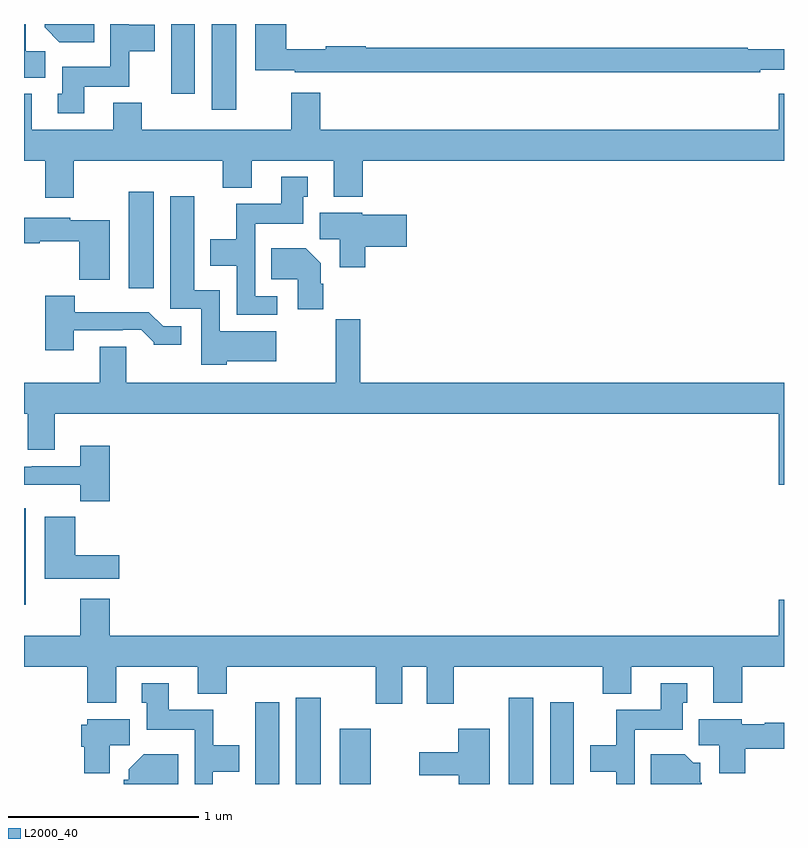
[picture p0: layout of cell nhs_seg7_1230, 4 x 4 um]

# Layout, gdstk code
import gdstk
lib = gdstk.Library(unit=1e-6, precision=1e-09)
def R(c, l, rs):  # rectangles x0, y0, x1, y1
    for r in rs: c.add(gdstk.rectangle(r[:2], r[2:], *l))
def P(c, l, *ps):  # polygons
    for p in ps: c.add(gdstk.Polygon(p, *l))
L2000_40 = (2000, 40)

nhs_seg7_1230 = lib.new_cell('nhs_seg7_1230')
R(nhs_seg7_1230, L2000_40, [(198.218,1000,198.343,1000.429), (198.431,1000,198.562,1000.453), (199.55,1000,199.681,1000.453), (199.769,1000,199.894,1000.429), (197,1000.944,197.008,1001.452), (197.552,1002.609,197.683,1003.117), (197.987,1003.548,198.118,1004), (197.774,1003.632,197.899,1004)])
P(nhs_seg7_1230, L2000_40, [(197.113,1003.856),(197.008,1003.856),(197.008,1004),(197,1004),(197,1003.718),(197.113,1003.718)],
  [(197.369,1004),(197.108,1004),(197.108,1003.982),(197.186,1003.904),(197.369,1003.904)],
  [(197.317,1003.67),(197.553,1003.67),(197.553,1003.856),(197.689,1003.856),(197.689,1003.996),(197.55,1003.996),(197.55,1004),(197.454,1004),(197.454,1003.774),(197.201,1003.774),(197.201,1003.632),(197.177,1003.632),(197.177,1003.53),(197.317,1003.53)],
  [(198.698,1003.746),(200.876,1003.746),(200.876,1003.758),(201,1003.758),(201,1003.867),(200.809,1003.867),(200.809,1003.874),(198.798,1003.874),(198.798,1003.882),(198.588,1003.882),(198.588,1003.867),(198.38,1003.867),(198.38,1004),(198.218,1004),(198.218,1003.757),(198.426,1003.757),(198.426,1003.745),(198.698,1003.745)],
  [(197.263,1003.28),(198.047,1003.28),(198.047,1003.139),(198.199,1003.139),(198.199,1003.28),(198.629,1003.28),(198.629,1003.091),(198.782,1003.091),(198.782,1003.28),(201,1003.28),(201,1003.633),(200.972,1003.633),(200.972,1003.444),(198.56,1003.444),(198.56,1003.639),(198.407,1003.639),(198.407,1003.444),(197.619,1003.444),(197.619,1003.585),(197.471,1003.585),(197.471,1003.444),(197.041,1003.444),(197.041,1003.633),(197,1003.633),(197,1003.28),(197.111,1003.28),(197.111,1003.086),(197.263,1003.086)],
  [(198.334,1002.567),(198.216,1002.567),(198.216,1002.95),(198.469,1002.95),(198.469,1003.092),(198.493,1003.092),(198.493,1003.195),(198.353,1003.195),(198.353,1003.054),(198.118,1003.054),(198.118,1002.868),(197.981,1002.868),(197.981,1002.728),(198.12,1002.728),(198.12,1002.471),(198.334,1002.471)],
  [(198.066,1002.224),(198.328,1002.224),(198.328,1002.382),(198.03,1002.382),(198.03,1002.598),(197.896,1002.598),(197.896,1003.093),(197.771,1003.093),(197.771,1002.501),(197.934,1002.501),(197.934,1002.206),(198.066,1002.206)],
  [(198.797,1002.827),(199.015,1002.827),(199.015,1002.997),(198.78,1002.997),(198.78,1003.006),(198.557,1003.006),(198.557,1002.868),(198.662,1002.868),(198.662,1002.72),(198.797,1002.72)],
  [(197.452,1002.967),(197.244,1002.967),(197.244,1002.979),(197,1002.979),(197,1002.845),(197.082,1002.845),(197.082,1002.857),(197.29,1002.857),(197.29,1002.653),(197.452,1002.653)],
  [(198.575,1002.632),(198.562,1002.632),(198.562,1002.742),(198.484,1002.82),(198.301,1002.82),(198.301,1002.656),(198.44,1002.656),(198.44,1002.498),(198.575,1002.498)],
  [(197.263,1002.387),(197.519,1002.387),(197.519,1002.39),(197.618,1002.39),(197.682,1002.326),(197.682,1002.311),(197.827,1002.311),(197.827,1002.408),(197.733,1002.408),(197.657,1002.484),(197.266,1002.484),(197.266,1002.571),(197.111,1002.571),(197.111,1002.282),(197.263,1002.282)],
  [(201,1002.112),(198.77,1002.112),(198.77,1002.445),(198.642,1002.445),(198.642,1002.112),(197.539,1002.112),(197.539,1002.302),(197.399,1002.302),(197.399,1002.112),(197,1002.112),(197,1001.948),(197.021,1001.948),(197.021,1001.758),(197.161,1001.758),(197.161,1001.948),(200.972,1001.948),(200.972,1001.574),(201,1001.574)],
  [(197.45,1001.779),(197.297,1001.779),(197.297,1001.673),(197.041,1001.673),(197.041,1001.67),(197,1001.67),(197,1001.576),(197.295,1001.576),(197.295,1001.489),(197.45,1001.489)],
  [(197.5,1001.203),(197.27,1001.203),(197.27,1001.407),(197.108,1001.407),(197.108,1001.081),(197.5,1001.081)],
  [(197.45,1000.975),(197.297,1000.975),(197.297,1000.78),(197,1000.78),(197,1000.616),(197.333,1000.616),(197.333,1000.427),(197.485,1000.427),(197.485,1000.616),(197.915,1000.616),(197.915,1000.475),(198.068,1000.475),(198.068,1000.616),(198.851,1000.616),(198.851,1000.422),(198.991,1000.422),(198.991,1000.616),(199.121,1000.616),(199.121,1000.422),(199.261,1000.422),(199.261,1000.616),(200.045,1000.616),(200.045,1000.475),(200.197,1000.475),(200.197,1000.616),(200.627,1000.616),(200.627,1000.427),(200.78,1000.427),(200.78,1000.616),(201,1000.616),(201,1000.969),(200.972,1000.969),(200.972,1000.78),(197.45,1000.78)],
  [(197.994,1000.064),(198.133,1000.064),(198.133,1000.204),(197.997,1000.204),(197.997,1000.39),(197.761,1000.39),(197.761,1000.531),(197.621,1000.531),(197.621,1000.428),(197.645,1000.428),(197.645,1000.286),(197.898,1000.286),(197.898,1000),(197.994,1000)],
  [(200.214,1000.286),(200.467,1000.286),(200.467,1000.428),(200.491,1000.428),(200.491,1000.531),(200.351,1000.531),(200.351,1000.39),(200.116,1000.39),(200.116,1000.204),(199.979,1000.204),(199.979,1000.064),(200.118,1000.064),(200.118,1000),(200.214,1000)],
  [(200.795,1000.186),(201,1000.186),(201,1000.323),(200.898,1000.323),(200.898,1000.315),(200.778,1000.315),(200.778,1000.342),(200.552,1000.342),(200.552,1000.203),(200.66,1000.203),(200.66,1000.056),(200.795,1000.056)],
  [(197.45,1000.204),(197.557,1000.204),(197.557,1000.342),(197.334,1000.342),(197.334,1000.311),(197.3,1000.311),(197.3,1000.197),(197.318,1000.197),(197.318,1000.056),(197.45,1000.056)],
  [(199.45,1000.291),(199.286,1000.291),(199.286,1000.168),(199.08,1000.168),(199.08,1000.046),(199.288,1000.046),(199.288,1000),(199.45,1000)],
  [(198.824,1000.137),(198.826,1000.137),(198.826,1000.291),(198.662,1000.291),(198.662,1000),(198.824,1000)],
  [(197.813,1000.156),(197.63,1000.156),(197.552,1000.078),(197.552,1000.023),(197.524,1000.023),(197.524,1000),(197.813,1000)],
  [(200.568,1000.007),(200.56,1000.007),(200.56,1000.111),(200.522,1000.111),(200.477,1000.156),(200.299,1000.156),(200.299,1000),(200.568,1000)])

lib.write_gds('nhs_seg7_1230.gds')
